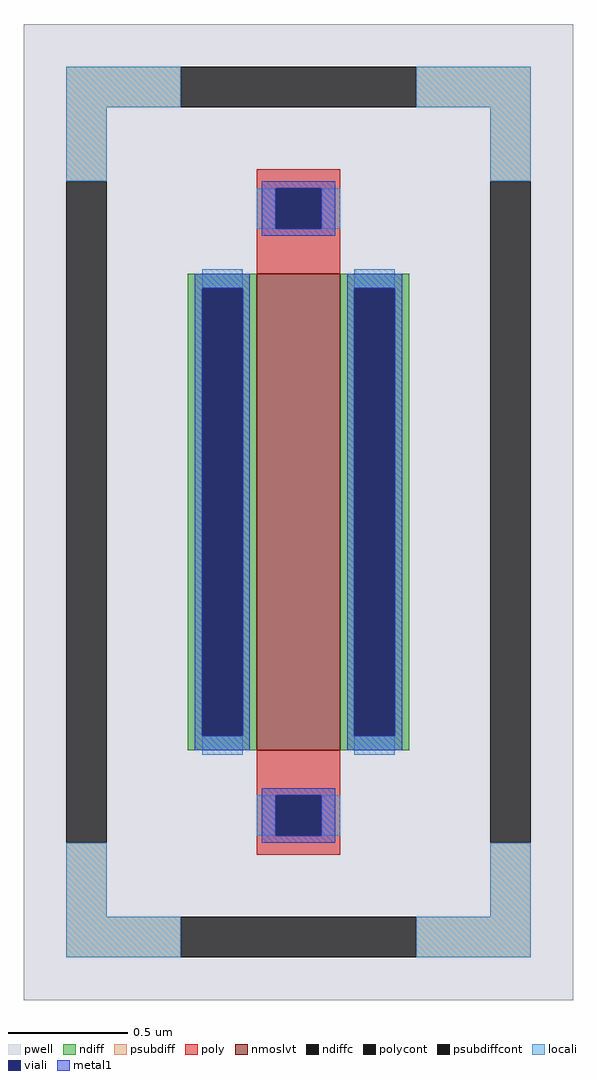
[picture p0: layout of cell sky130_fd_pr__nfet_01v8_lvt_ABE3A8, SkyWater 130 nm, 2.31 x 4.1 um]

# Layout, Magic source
magic
tech sky130A
magscale 1 2
<< pwell >>
rect -231 -410 231 410
<< nmoslvt >>
rect -35 -200 35 200
<< ndiff >>
rect -93 188 -35 200
rect -93 -188 -81 188
rect -47 -188 -35 188
rect -93 -200 -35 -188
rect 35 188 93 200
rect 35 -188 47 188
rect 81 -188 93 188
rect 35 -200 93 -188
<< ndiffc >>
rect -81 -188 -47 188
rect 47 -188 81 188
<< psubdiff >>
rect -195 340 -99 374
rect 99 340 195 374
rect -195 278 -161 340
rect 161 278 195 340
rect -195 -340 -161 -278
rect 161 -340 195 -278
rect -195 -374 -99 -340
rect 99 -374 195 -340
<< psubdiffcont >>
rect -99 340 99 374
rect -195 -278 -161 278
rect 161 -278 195 278
rect -99 -374 99 -340
<< poly >>
rect -35 272 35 288
rect -35 238 -19 272
rect 19 238 35 272
rect -35 200 35 238
rect -35 -238 35 -200
rect -35 -272 -19 -238
rect 19 -272 35 -238
rect -35 -288 35 -272
<< polycont >>
rect -19 238 19 272
rect -19 -272 19 -238
<< locali >>
rect -195 340 -99 374
rect 99 340 195 374
rect -195 278 -161 340
rect 161 278 195 340
rect -35 238 -19 272
rect 19 238 35 272
rect -81 188 -47 204
rect -81 -204 -47 -188
rect 47 188 81 204
rect 47 -204 81 -188
rect -35 -272 -19 -238
rect 19 -272 35 -238
rect -195 -340 -161 -278
rect 161 -340 195 -278
rect -195 -374 -99 -340
rect 99 -374 195 -340
<< viali >>
rect -19 238 19 272
rect -81 -188 -47 188
rect 47 -188 81 188
rect -19 -272 19 -238
<< metal1 >>
rect -31 272 31 278
rect -31 238 -19 272
rect 19 238 31 272
rect -31 232 31 238
rect -87 188 -41 200
rect -87 -188 -81 188
rect -47 -188 -41 188
rect -87 -200 -41 -188
rect 41 188 87 200
rect 41 -188 47 188
rect 81 -188 87 188
rect 41 -200 87 -188
rect -31 -238 31 -232
rect -31 -272 -19 -238
rect 19 -272 31 -238
rect -31 -278 31 -272
<< properties >>
string FIXED_BBOX -178 -357 178 357
string gencell sky130_fd_pr__nfet_01v8_lvt
string library sky130
string parameters w 2.0 l 0.35 m 1 nf 1 diffcov 100 polycov 100 guard 1 glc 1 grc 1 gtc 1 gbc 1 tbcov 100 rlcov 100 topc 1 botc 1 poverlap 0 doverlap 1 lmin 0.15 wmin 0.42 compatible {sky130_fd_pr__nfet_01v8 sky130_fd_pr__nfet_01v8_lvt  sky130_fd_bs_flash__special_sonosfet_star  sky130_fd_pr__nfet_g5v0d10v5 sky130_fd_pr__nfet_05v0_nvt  sky130_fd_pr__nfet_03v3_nvt} full_metal 1 viasrc 100 viadrn 100 viagate 100 viagb 0 viagr 0 viagl 0 viagt 0
<< end >>
